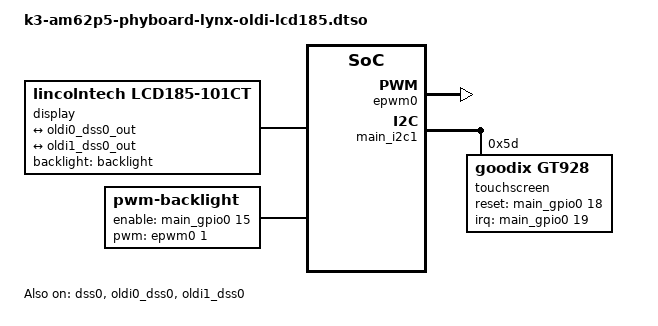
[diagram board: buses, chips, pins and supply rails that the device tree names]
// SPDX-License-Identifier: GPL-2.0-only OR MIT
/*
 * Copyright (C) 2025 PHYTEC America LLC
 * Author: Nathan Morrisson <nmorrisson@phytec.com>
 */

/dts-v1/;
/plugin/;

#include <dt-bindings/pwm/pwm.h>
#include <dt-bindings/gpio/gpio.h>
#include <dt-bindings/interrupt-controller/irq.h>
#include "k3-pinctrl.h"

&{/} {
	display {
		compatible = "lincolntech,lcd185-101ct";
		backlight = <&backlight>;

		ports {
			#address-cells = <1>;
			#size-cells = <0>;

			port@0 {
				dual-lvds-odd-pixels;
				lcd_in0: endpoint {
					remote-endpoint = <&oldi0_dss0_out>;
				};
			};

			port@1 {
				dual-lvds-even-pixels;
				lcd_in1: endpoint {
					remote-endpoint = <&oldi1_dss0_out>;
				};
			};
		};
	};

	backlight: backlight {
		pinctrl-names = "default";
		pinctrl-0 = <&bl_pwm_pins_default>;

		compatible = "pwm-backlight";

		brightness-levels = <0 4 8 16 32 64 128 255>;
		default-brightness-level = <6>;

		enable-gpios = <&main_gpio0 15 GPIO_ACTIVE_HIGH>;
		pwms = <&epwm0 1 50000 0>;
	};
};

&main_pmx0 {
	bl_pwm_pins_default: bl-pwm-pins-default {
		pinctrl-single,pins = <
			J722S_IOPAD(0x1b8, PIN_INPUT, 2)	/* (E20) SPI0_CS1.EHRPWM0_B */
			J722S_IOPAD(0x03c, PIN_INPUT, 7) 	/* (U22) GPMC0_AD0.GPIO0_15 */
		>;
	};

	touch_screen_pins_default: touch-screen-pins-default {
		pinctrl-single,pins = <
			J722S_IOPAD(0x048, PIN_OUTPUT, 7)	/* (V25) GPMC0_AD3.GPIO0_18 - RST */
			J722S_IOPAD(0x04c, PIN_INPUT, 7)	/* (T20) GPMC0_AD4.GPIO0_19 - INT */
		>;
	};

	main_oldi0_pins_default: main-oldi0-pins-default {
		pinctrl-single,pins = <
			J722S_IOPAD(0x0260, PIN_OUTPUT, 0)	/* (AE20) OLDI0_A0N */
			J722S_IOPAD(0x025c, PIN_OUTPUT, 0)	/* (AD20) OLDI0_A0P */
			J722S_IOPAD(0x0268, PIN_OUTPUT, 0)	/* (AC19) OLDI0_A1N */
			J722S_IOPAD(0x0264, PIN_OUTPUT, 0)	/* (AD19) OLDI0_A1P */
			J722S_IOPAD(0x0270, PIN_OUTPUT, 0)	/* (AA19) OLDI0_A2N */
			J722S_IOPAD(0x026c, PIN_OUTPUT, 0)	/* (AB19) OLDI0_A2P */
			J722S_IOPAD(0x0278, PIN_OUTPUT, 0)	/* (AD18) OLDI0_A3N */
			J722S_IOPAD(0x0274, PIN_OUTPUT, 0)	/* (AD19) OLDI0_A3P */
			J722S_IOPAD(0x0280, PIN_OUTPUT, 0)	/* (AD17) OLDI0_A4N */
			J722S_IOPAD(0x027c, PIN_OUTPUT, 0)	/* (AD16) OLDI0_A4P */
			J722S_IOPAD(0x0288, PIN_OUTPUT, 0)	/* (AB17) OLDI0_A5N */
			J722S_IOPAD(0x0284, PIN_OUTPUT, 0)	/* (AC17) OLDI0_A5P */
			J722S_IOPAD(0x0290, PIN_OUTPUT, 0)	/* (AC16) OLDI0_A6N */
			J722S_IOPAD(0x028c, PIN_OUTPUT, 0)	/* (AC15) OLDI0_A6P */
			J722S_IOPAD(0x0298, PIN_OUTPUT, 0)	/* (AB16) OLDI0_A7N */
			J722S_IOPAD(0x0294, PIN_OUTPUT, 0)	/* (AA16) OLDI0_A7P */
			J722S_IOPAD(0x02a0, PIN_OUTPUT, 0)	/* (AE18) OLDI0_CLK0N */
			J722S_IOPAD(0x029c, PIN_OUTPUT, 0)	/* (AE17) OLDI0_CLK0P */
			J722S_IOPAD(0x02a8, PIN_OUTPUT, 0)	/* (AD15) OLDI0_CLK1N */
			J722S_IOPAD(0x02a4, PIN_OUTPUT, 0)	/* (AD14) OLDI0_CLK1P */
		>;
	};
};

&dss0 {
	pinctrl-names = "default";
	pinctrl-0 = <&main_oldi0_pins_default>;
	status = "okay";
};

&dss0_ports {
	#address-cells = <1>;
	#size-cells = <0>;

	/* VP1: Output to OLDI */
	port@0 {
		reg = <0>;
		#address-cells = <1>;
		#size-cells = <0>;

		dss0_out0: endpoint@0 {
			reg = <0>;
			remote-endpoint = <&oldi0_dss0_in>;
		};

		dss0_out1: endpoint@1 {
			reg = <1>;
			remote-endpoint = <&oldi1_dss0_in>;
		};
	};
};

&epwm0 {
	status = "okay";
};

&main_i2c1 {
	#address-cells = <1>;
	#size-cells = <0>;

	touchscreen@5d {
		compatible = "goodix,gt928";
		reg = <0x5d>;

		pinctrl-names = "default";
		pinctrl-0 = <&touch_screen_pins_default>;

		interrupt-parent = <&main_gpio0>;
		interrupts = <19 IRQ_TYPE_LEVEL_LOW>;

		reset-gpios = <&main_gpio0 18 GPIO_ACTIVE_HIGH>;
		irq-gpios = <&main_gpio0 19 GPIO_ACTIVE_HIGH>;
	};
};

&oldi0_dss0 {
	status = "okay";
};

&oldi1_dss0 {
	status = "okay";
};

&oldi0_dss0_ports {
	#address-cells = <1>;
	#size-cells = <0>;

	port@0 {
		reg = <0>;
		oldi0_dss0_in: endpoint {
			remote-endpoint = <&dss0_out0>;
		};
	};

	port@1 {
		reg = <1>;
		oldi0_dss0_out: endpoint {
			remote-endpoint = <&lcd_in0>;
		};
	};
};

&oldi1_dss0_ports {
	#address-cells = <1>;
	#size-cells = <0>;

	port@0 {
		reg = <0>;
		oldi1_dss0_in: endpoint {
			remote-endpoint = <&dss0_out1>;
		};
	};

	port@1 {
		reg = <1>;
		oldi1_dss0_out: endpoint {
			remote-endpoint = <&lcd_in1>;
		};
	};
};
